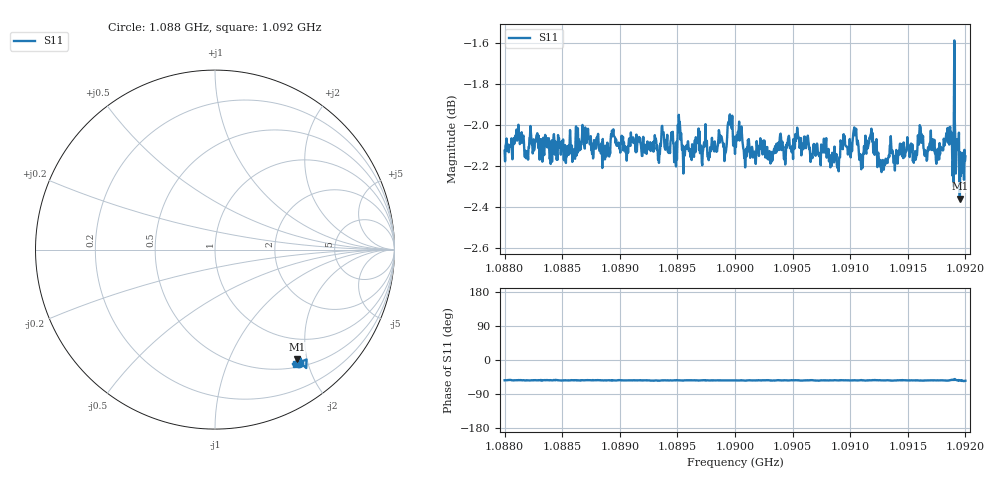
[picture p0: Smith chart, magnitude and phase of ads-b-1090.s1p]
! Calibrated averaged scanner-service zoom
# Hz S RI R 50
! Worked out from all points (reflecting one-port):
!   1001 points, 1.088 GHz to 1.092 GHz, reference 50 ohm
!   lowest |S11| = -2.4 dB at 1.09195 GHz (marker M1), VSWR 7.41, Z = 31.2 - j91.2 ohm
!   phase of S11 starts at -54 deg and turns -1 deg over the sweep
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1.088e9  0.4656 -0.6295
1.088444e9  0.4819 -0.6222
1.0885e9  0.4653 -0.6351
1.08872e9  0.4757 -0.6319
1.088868e9  0.4607 -0.6289
1.089e9  0.4683 -0.6301
1.089336e9  0.4559 -0.6348
1.08938e9  0.4686 -0.6374
1.0895e9  0.4649 -0.6343
1.089908e9  0.4603 -0.6277
1.089956e9  0.4703 -0.646
1.09e9  0.462 -0.6304
1.090264e9  0.4637 -0.6272
1.090324e9  0.4568 -0.6305
1.0905e9  0.4675 -0.6309
1.090656e9  0.4642 -0.6245
1.09072e9  0.4569 -0.6339
1.090888e9  0.4592 -0.625
1.091e9  0.4623 -0.6329
1.091196e9  0.4734 -0.6333
1.091256e9  0.4638 -0.6223
1.0915e9  0.4624 -0.6342
1.09162e9  0.461 -0.6419
1.091764e9  0.4598 -0.629
1.09184e9  0.4582 -0.6408
1.091892e9  0.4758 -0.6158
1.091952e9  0.4552 -0.6114
1.092e9  0.4505 -0.6374
